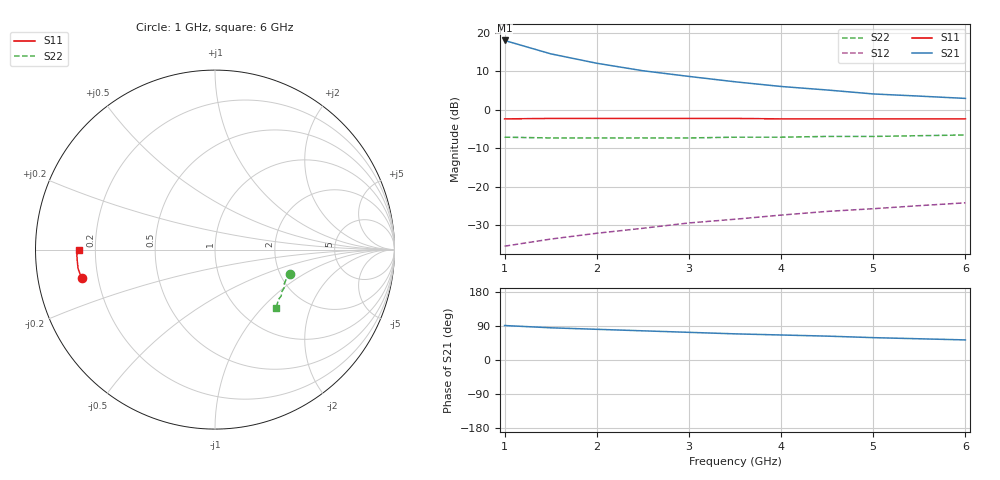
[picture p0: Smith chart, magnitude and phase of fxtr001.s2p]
!{XTR-2001 Common Emitter Vce=15V  Ic=25mA  ghz s ma r 50}
# GHZ S MA R 50
! f  s11  s21  s12  s22
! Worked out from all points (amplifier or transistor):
!   11 points, 1 GHz to 6 GHz, reference 50 ohm
!   highest |S21| = 18.0 dB at 1 GHz (marker M1)
!   |S21| within 3 dB of that: start of sweep to 1.433 GHz
!   unconditionally stable (mu >= 1): start of sweep to end of sweep
!   at 1.5 GHz: K = 1.28, MAG = 20.9 dB, |S12| = -33.6 dB
!   at 3.5 GHz: K = 1.61, MAG = 13.2 dB, |S12| = -28.4 dB
!   at 6 GHz: K = 1.61, MAG = 9.0 dB, |S12| = -24.2 dB
1  0.76 -168.0  7.9 91.0  0.017 42.0  0.44 -18.0
1.5  0.77 -172.0  5.3 85.0  0.021 49.0  0.43 -18.0
2  0.77 -175.0  4 81.0  0.025 54.0  0.43 -20.0
2.5  0.77 -176.0  3.2 77.0  0.029 58.0  0.43 -23.0
3  0.77 -177.0  2.7 73.0  0.034 60.0  0.43 -26.0
3.5  0.77 -178.0  2.3 69.0  0.038 61.0  0.44 -29.0
4  0.76 -179.0  2 66.0  0.043 62.0  0.44 -32.0
4.5  0.76 -179.0  1.8 63.0  0.048 62.0  0.45 -35.0
5  0.76 -179.0  1.6 59.0  0.052 62.0  0.45 -38.0
5.5  0.76 -180.0  1.5 56.0  0.057 62.0  0.46 -41.0
6  0.76 -180.0  1.4 53.0  0.062 61.0  0.47 -44.0
